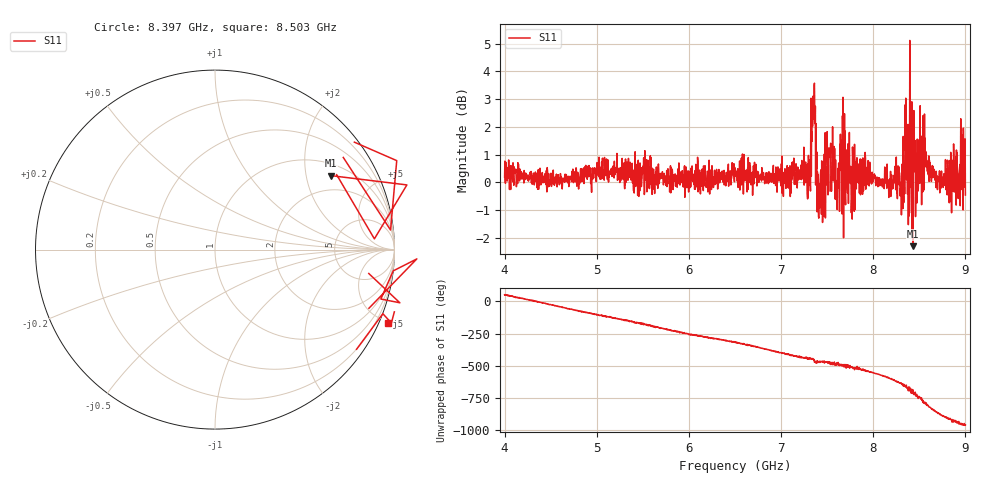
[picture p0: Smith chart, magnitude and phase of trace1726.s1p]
! Created with skrf 1.8.0 (http://scikit-rf.org).
# Hz S RI R 50.0
!freq ReS11 ImS11
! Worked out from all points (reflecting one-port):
!   1601 points, 4 GHz to 9 GHz, reference 50 ohm
!   lowest |S11| = -2.3 dB at 8.431 GHz (marker M1), VSWR 7.58, Z = 69.9 + j140 ohm
!   phase of S11 starts at 52 deg and turns -1013 deg over the sweep
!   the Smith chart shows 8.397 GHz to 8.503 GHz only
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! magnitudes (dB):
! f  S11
! 4 GHz  0.2
! 4.625 GHz  -0.2
! 5.25 GHz  0.0
! 5.875 GHz  0.0
! 6.5 GHz  0.4
! 7.125 GHz  0.7
! 7.294 GHz  -0.5
! 7.347 GHz  3.1
! 7.362 GHz  3.6
! 7.4 GHz  0.2
! 7.428 GHz  0.3
! 7.512 GHz  0.6
! 7.609 GHz  -1.0
! 7.669 GHz  1.3
! 7.75 GHz  0.1
! 8.316 GHz  0.2
! 8.334 GHz  0.3
! 8.375 GHz  1.4
! 8.406 GHz  -0.2
! 8.416 GHz  -1.1
! 8.431 GHz  -2.3
! 8.459 GHz  -1.2
! 8.481 GHz  0.5
! 8.534 GHz  1.2
! 8.7 GHz  0.1
! 8.825 GHz  -0.7
! 8.972 GHz  0.9
! 9 GHz  -0.5
